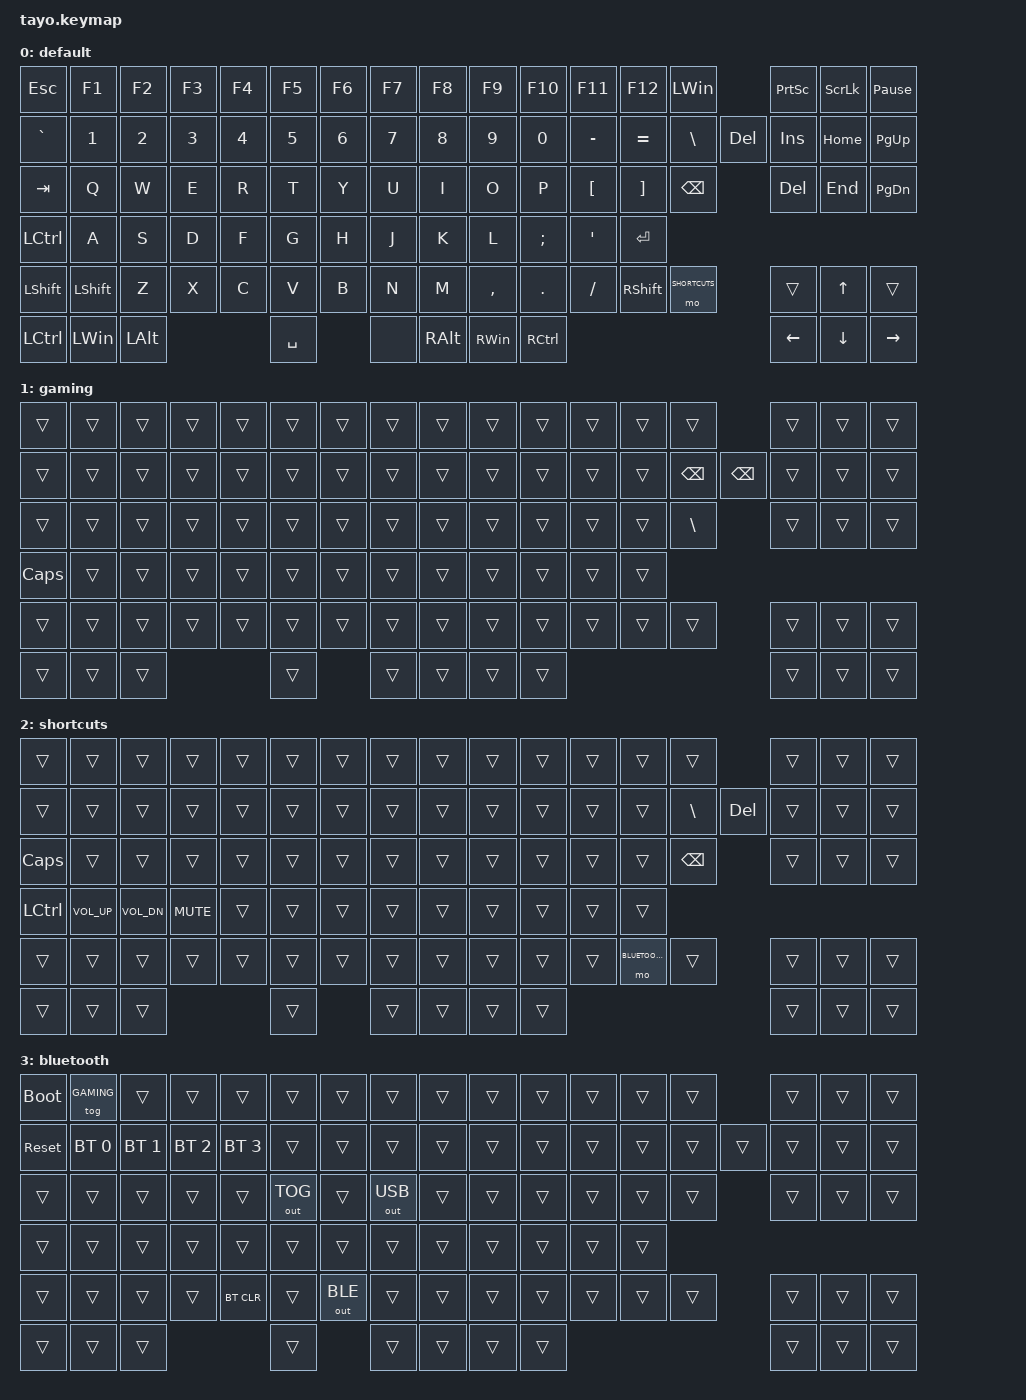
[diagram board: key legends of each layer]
/*
 * Copyright (c) 2021 Nick Winans
 *
 * SPDX-License-Identifier: MIT
 */

#include <behaviors.dtsi>
#include <dt-bindings/zmk/bt.h>
#include <dt-bindings/zmk/keys.h>
#include <dt-bindings/zmk/outputs.h>

#define DEFAULT 0
#define GAMING 1
#define SHORTCUTS 2
#define BLUETOOTH 3

/ {
    keymap {
        compatible = "zmk,keymap";

        default {
            bindings = <
                &kp ESC                 &kp F1   &kp F2   &kp F3   &kp F4   &kp F5   &kp F6   &kp F7   &kp F8      &kp F9    &kp F10    &kp F11     &kp F12     &kp LWIN                 &kp PRINTSCREEN   &kp SCROLLLOCK   &kp PAUSE_BREAK
                &kp GRAVE               &kp N1   &kp N2   &kp N3   &kp N4   &kp N5   &kp N6   &kp N7   &kp N8      &kp N9    &kp N0     &kp MINUS   &kp EQUAL   &kp BSLH   &kp DELETE   &kp INSERT        &kp HOME         &kp PAGE_UP
                &kp TAB                 &kp Q    &kp W    &kp E    &kp R    &kp T    &kp Y    &kp U    &kp I       &kp O     &kp P      &kp LBKT    &kp RBKT    &kp BSPC                &kp DELETE        &kp END          &kp PAGE_DOWN
                &kp LCTRL               &kp A    &kp S    &kp D    &kp F    &kp G    &kp H    &kp J    &kp K       &kp L     &kp SEMI   &kp SQT     &kp RET
                &kp LSHFT   &kp LSHFT   &kp Z    &kp X    &kp C    &kp V    &kp B    &kp N    &kp M    &kp COMMA   &kp DOT   &kp FSLH   &kp RSHFT   &mo SHORTCUTS                       &trans            &kp UP           &trans
                &kp LCTRL   &kp LWIN   &kp LEFT_ALT                         &kp SPACE         &none    &kp RALT    &kp RWIN  &kp RCTRL                                                  &kp LEFT          &kp DOWN         &kp RIGHT
            >;
        };

        gaming {
            bindings = <
                &trans            &trans   &trans   &trans   &trans   &trans   &trans   &trans   &trans   &trans   &trans   &trans   &trans   &trans                &trans   &trans   &trans
                &trans            &trans   &trans   &trans   &trans   &trans   &trans   &trans   &trans   &trans   &trans   &trans   &trans   &kp BSPC   &kp BSPC   &trans   &trans   &trans
                &trans            &trans   &trans   &trans   &trans   &trans   &trans   &trans   &trans   &trans   &trans   &trans   &trans   &kp BSLH              &trans   &trans   &trans
                &kp CLCK          &trans   &trans   &trans   &trans   &trans   &trans   &trans   &trans   &trans   &trans   &trans   &trans
                &trans   &trans   &trans   &trans   &trans   &trans   &trans   &trans   &trans   &trans   &trans   &trans   &trans   &trans                         &trans   &trans   &trans
                &trans   &trans   &trans                              &trans            &trans   &trans   &trans   &trans                                           &trans   &trans   &trans
            >;
        };


        shortcuts {
            bindings = <
                &trans            &trans         &trans         &trans       &trans   &trans   &trans   &trans   &trans   &trans   &trans   &trans           &trans   &trans                  &trans   &trans   &trans
                &trans            &trans         &trans         &trans       &trans   &trans   &trans   &trans   &trans   &trans   &trans   &trans           &trans   &kp BSLH   &kp DELETE   &trans   &trans   &trans
                &kp CLCK          &trans         &trans         &trans       &trans   &trans   &trans   &trans   &trans   &trans   &trans   &trans           &trans   &kp BSPC                &trans   &trans   &trans
                &kp LCTRL         &kp C_VOL_UP   &kp C_VOL_DN   &kp C_MUTE   &trans   &trans   &trans   &trans   &trans   &trans   &trans   &trans           &trans
                &trans   &trans   &trans         &trans         &trans       &trans   &trans   &trans   &trans   &trans   &trans   &trans   &mo BLUETOOTH    &trans                           &trans   &trans   &trans
                &trans   &trans   &trans                                              &trans            &trans   &trans   &trans   &trans                                             &trans   &trans   &trans
            >;
        };

        bluetooth {
            bindings = <
                &bootloader            &tog GAMING    &trans         &trans         &trans         &trans         &trans   &trans         &trans   &trans   &trans   &trans   &trans   &trans            &trans   &trans   &trans
                &sys_reset             &bt BT_SEL 0   &bt BT_SEL 1   &bt BT_SEL 2   &bt BT_SEL 3   &trans         &trans   &trans         &trans   &trans   &trans   &trans   &trans   &trans   &trans   &trans   &trans   &trans
                &trans                 &trans         &trans         &trans         &trans         &out OUT_TOG   &trans   &out OUT_USB   &trans   &trans   &trans   &trans   &trans   &trans            &trans   &trans   &trans
                &trans                 &trans         &trans         &trans         &trans         &trans         &trans   &trans         &trans   &trans   &trans   &trans   &trans
                &trans        &trans   &trans         &trans         &bt BT_CLR     &trans         &out OUT_BLE   &trans   &trans         &trans   &trans   &trans   &trans   &trans                     &trans   &trans   &trans
                &trans        &trans   &trans                                                      &trans                  &trans         &trans   &trans   &trans                                       &trans   &trans   &trans
            >;
        };
    };
};
